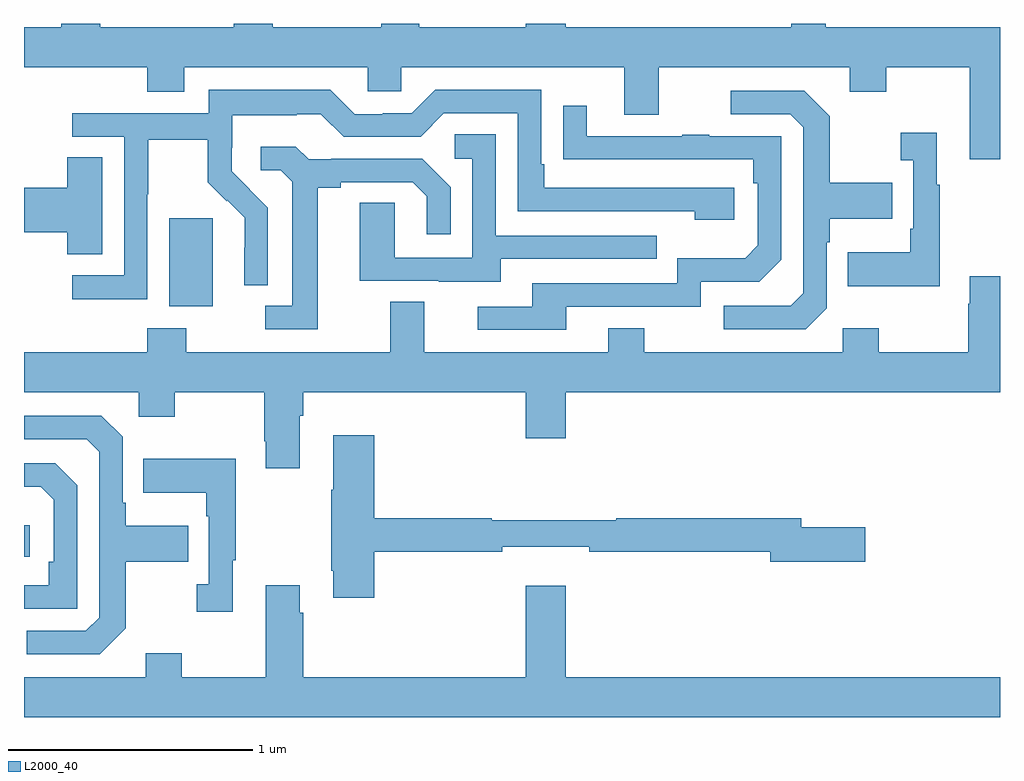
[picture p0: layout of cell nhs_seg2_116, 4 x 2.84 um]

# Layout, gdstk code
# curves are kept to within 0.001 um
import gdstk
lib = gdstk.Library(unit=1e-6, precision=1e-09)
def R(c, l, rs):  # rectangles x0, y0, x1, y1
    for r in rs: c.add(gdstk.rectangle(r[:2], r[2:], *l))
def P(c, l, *ps):  # polygons
    for p in ps: c.add(gdstk.Polygon(p, *l))
L2000_40 = (2000, 40)

nhs_seg2_116 = lib.new_cell('nhs_seg2_116')
R(nhs_seg2_116, L2000_40, [(115,661.614,115.024,661.744), (115.595,662.642,115.774,663.003)])
P(nhs_seg2_116, L2000_40, [(119,663.784),(118.285,663.784),(118.285,663.8),(118.145,663.8),(118.145,663.784),(117.22,663.784),(117.22,663.8),(117.056,663.8),(117.056,663.784),(116.619,663.784),(116.619,663.8),(116.464,663.8),(116.464,663.784),(116.019,663.784),(116.019,663.8),(115.859,663.8),(115.859,663.784),(115.313,663.784),(115.313,663.8),(115.153,663.8),(115.153,663.784),(115,663.784),(115,663.62),(115.505,663.62),(115.505,663.521),(115.657,663.521),(115.657,663.62),(116.409,663.62),(116.409,663.522),(116.547,663.522),(116.547,663.62),(117.461,663.62),(117.461,663.426),(117.601,663.426),(117.601,663.62),(118.385,663.62),(118.385,663.521),(118.533,663.521),(118.533,663.62),(118.877,663.62),(118.877,663.243),(119,663.243)],
  [(115.506,663.1),(115.509,663.1),(115.509,663.324),(115.753,663.324),(115.753,663.149),(115.83,663.072),(115.833,663.075),(115.904,663.005),(115.904,662.882),(115.902,662.882),(115.902,662.728),(115.998,662.728),(115.998,663.046),(115.852,663.194),(115.852,663.291),(115.854,663.291),(115.854,663.425),(116.117,663.425),(116.117,663.429),(116.217,663.429),(116.31,663.336),(116.625,663.336),(116.721,663.432),(117.024,663.432),(117.024,663.03),(117.749,663.03),(117.749,662.996),(117.91,662.996),(117.91,663.126),(117.133,663.126),(117.133,663.223),(117.12,663.223),(117.12,663.528),(116.685,663.528),(116.589,663.432),(116.471,663.432),(116.471,663.429),(116.355,663.429),(116.255,663.529),(115.758,663.529),(115.758,663.432),(115.197,663.432),(115.197,663.336),(115.41,663.336),(115.41,662.769),(115.197,662.769),(115.197,662.671),(115.506,662.671)],
  [(118.29,662.634),(118.29,662.903),(118.303,662.903),(118.303,662.999),(118.559,662.999),(118.559,663.147),(118.303,663.147),(118.303,663.419),(118.197,663.525),(117.897,663.525),(117.897,663.429),(118.14,663.429),(118.194,663.375),(118.194,662.694),(118.143,662.643),(117.867,662.643),(117.867,662.547),(118.203,662.547)],
  [(117.223,662.64),(117.774,662.64),(117.774,662.742),(118.014,662.742),(118.104,662.832),(118.104,663.339),(117.809,663.339),(117.809,663.344),(117.697,663.344),(117.697,663.339),(117.307,663.339),(117.307,663.463),(117.211,663.463),(117.211,663.244),(117.988,663.243),(117.988,663.146),(118.008,663.146),(118.008,662.892),(117.955,662.839),(117.678,662.839),(117.678,662.736),(117.083,662.736),(117.083,662.64),(116.859,662.64),(116.859,662.544),(117.223,662.544)],
  [(118.753,663.139),(118.741,663.139),(118.741,663.352),(118.593,663.352),(118.593,663.239),(118.644,663.239),(118.644,662.959),(118.632,662.959),(118.632,662.863),(118.375,662.863),(118.375,662.723),(118.753,662.723)],
  [(116.953,662.835),(117.593,662.835),(117.593,662.931),(116.934,662.931),(116.934,663.347),(116.766,663.347),(116.766,663.246),(116.838,663.246),(116.838,662.841),(116.52,662.841),(116.52,663.065),(116.375,663.065),(116.375,662.745),(116.699,662.745),(116.699,662.741),(116.953,662.741)],
  [(116.203,663.128),(116.299,663.128),(116.299,663.15),(116.594,663.15),(116.651,663.093),(116.651,662.937),(116.748,662.937),(116.748,663.13),(116.632,663.246),(116.26,663.246),(116.26,663.243),(116.166,663.243),(116.114,663.295),(115.971,663.295),(115.971,663.198),(116.052,663.198),(116.099,663.151),(116.099,662.643),(115.989,662.643),(115.989,662.547),(116.203,662.547)],
  [(115.321,663.251),(115.178,663.251),(115.178,663.128),(115,663.128),(115,662.945),(115.178,662.945),(115.178,662.854),(115.321,662.854)],
  [(116.131,662.192),(116.144,662.192),(116.144,662.288),(117.056,662.288),(117.056,662.1),(117.22,662.1),(117.22,662.288),(119,662.288),(119,662.764),(118.877,662.764),(118.877,662.651),(118.87,662.651),(118.87,662.452),(118.503,662.452),(118.503,662.551),(118.356,662.551),(118.356,662.452),(117.543,662.452),(117.543,662.551),(117.395,662.551),(117.395,662.452),(116.641,662.452),(116.641,662.66),(116.501,662.66),(116.501,662.452),(115.665,662.452),(115.665,662.551),(115.505,662.551),(115.505,662.452),(115,662.452),(115,662.288),(115.47,662.288),(115.47,662.189),(115.617,662.189),(115.617,662.288),(115.984,662.288),(115.984,662.089),(115.991,662.089),(115.991,661.977),(116.131,661.977)],
  [(115.417,661.321),(115.417,661.594),(115.673,661.594),(115.673,661.741),(115.417,661.741),(115.417,661.837),(115.404,661.837),(115.404,662.106),(115.317,662.193),(115,662.193),(115,662.097),(115.257,662.097),(115.308,662.046),(115.308,661.365),(115.254,661.311),(115.011,661.311),(115.011,661.215),(115.311,661.215)],
  [(116.435,661.636),(116.96,661.636),(116.96,661.655),(117.316,661.655),(117.316,661.636),(118.058,661.636),(118.058,661.594),(118.447,661.594),(118.447,661.736),(118.186,661.736),(118.186,661.772),(117.427,661.772),(117.427,661.765),(116.918,661.765),(116.918,661.772),(116.435,661.772),(116.435,662.113),(116.267,662.113),(116.267,661.889),(116.26,661.889),(116.26,661.558),(116.267,661.558),(116.267,661.446),(116.435,661.446)],
  [(115.855,661.601),(115.867,661.601),(115.867,662.017),(115.489,662.017),(115.489,661.877),(115.746,661.877),(115.746,661.781),(115.758,661.781),(115.758,661.502),(115.707,661.502),(115.707,661.389),(115.855,661.389)],
  [(115.218,661.908),(115.128,661.998),(115,661.998),(115,661.901),(115.069,661.901),(115.122,661.848),(115.122,661.594),(115.102,661.594),(115.102,661.497),(115,661.497),(115,661.401),(115.218,661.401)],
  [(119,661.12),(117.22,661.12),(117.22,661.495),(117.056,661.495),(117.056,661.12),(116.144,661.12),(116.144,661.385),(116.131,661.385),(116.131,661.498),(115.991,661.498),(115.991,661.12),(115.647,661.12),(115.647,661.219),(115.499,661.219),(115.499,661.12),(115,661.12),(115,660.956),(119,660.956)])

lib.write_gds('nhs_seg2_116.gds')
